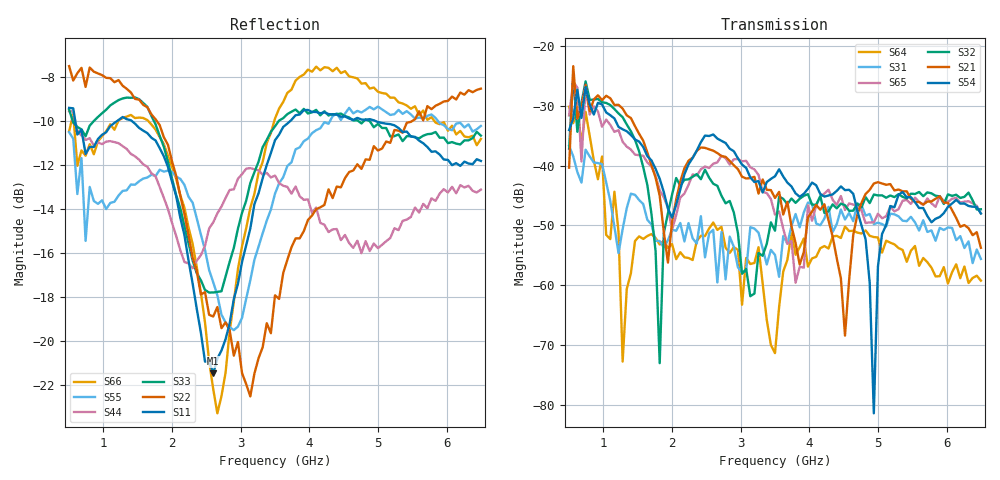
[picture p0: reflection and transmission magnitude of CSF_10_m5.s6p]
!Keysight Technologies,M9804A,MY58100912,A.14.10.03
!Date: Thursday, April 27, 2023 10:28:33
!Correction: S11(C  6-Port  )
!S12(C  6-Port  )
!S13(C  6-Port  )
!S14(C  6-Port  )
!S15(C  6-Port  )
!S16(C  6-Port  )
!S21(C  6-Port  )
!S22(C  6-Port  )
!S23(C  6-Port  )
!S24(C  6-Port  )
!S25(C  6-Port  )
!S26(C  6-Port  )
!S31(C  6-Port  )
!S32(C  6-Port  )
!S33(C  6-Port  )
!S34(C  6-Port  )
!S35(C  6-Port  )
!S36(C  6-Port  )
!S41(C  6-Port  )
!S42(C  6-Port  )
!S43(C  6-Port  )
!S44(C  6-Port  )
!S45(C  6-Port  )
!S46(C  6-Port  )
!S51(C  6-Port  )
!S52(C  6-Port  )
!S53(C  6-Port  )
!S54(C  6-Port  )
!S55(C  6-Port  )
!S56(C  6-Port  )
!S61(C  6-Port  )
!S62(C  6-Port  )
!S63(C  6-Port  )
!S64(C  6-Port  )
!S65(C  6-Port  )
!S66(C  6-Port  )
!S6P File: Measurement: :
# Hz S  RI  R 50
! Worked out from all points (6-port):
!   101 points, 500 MHz to 6.5 GHz, reference 50 ohm
!   strongest paths, dB at 500 MHz, 2 GHz, 3.5 GHz, 5 GHz, 6.5 GHz:
!     S54: -34.1, -48.7, -41.8, -56.9, -48.0
!     S21: -40.4, -49.5, -45.4, -42.8, -53.8
!     S32: -37.2, -44.9, -50.9, -45.0, -47.3
!     S65: -31.6, -50.7, -48.2, -48.1, -48.0
!     S31: -36.7, -50.8, -55.0, -49.6, -55.6
!     S64: -30.1, -53.1, -71.4, -52.0, -59.3
!   lowest |S11| = -21.5 dB at 2.6 GHz (marker M1), VSWR 1.18, Z = 42.5 + j2.22 ohm
!   |S11| at or under -10 dB: 589.7 MHz to 1.195 GHz (604.9 MHz wide, 67.8 % of centre); 1.419 GHz to 3.717 GHz (2.299 GHz wide, 89.5 % of centre); 4.973 GHz to end of sweep
